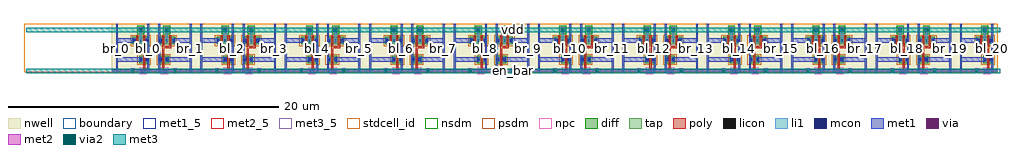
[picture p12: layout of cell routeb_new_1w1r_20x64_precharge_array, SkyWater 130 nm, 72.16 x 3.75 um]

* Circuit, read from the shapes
.subckt routeb_new_1w1r_20x64_precharge_array bl_0 bl_1 bl_10 bl_11 bl_12 bl_13 bl_14 bl_15 bl_16 bl_17 bl_18 bl_19 bl_2 bl_20 bl_3 bl_4 bl_5 bl_6 bl_7 bl_8 bl_9 br_0 br_1 br_10 br_11 br_12 br_13 br_14 br_15 br_16 br_17 br_18 br_19 br_2 br_20 br_3 br_4 br_5 br_6 br_7 br_8 br_9 en_bar vdd
XM1 vdd en_bar br_0 vdd sky130_fd_pr__pfet_01v8 w=0.55 l=0.15
XM2 bl_0 en_bar br_0 vdd sky130_fd_pr__pfet_01v8 w=0.55 l=0.15
XM3 bl_0 en_bar vdd vdd sky130_fd_pr__pfet_01v8 w=0.55 l=0.15
XM4 br_1 en_bar bl_1 vdd sky130_fd_pr__pfet_01v8 w=0.55 l=0.15
XM5 vdd en_bar bl_1 vdd sky130_fd_pr__pfet_01v8 w=0.55 l=0.15
XM6 br_1 en_bar vdd vdd sky130_fd_pr__pfet_01v8 w=0.55 l=0.15
XM7 vdd en_bar br_2 vdd sky130_fd_pr__pfet_01v8 w=0.55 l=0.15
XM8 bl_2 en_bar br_2 vdd sky130_fd_pr__pfet_01v8 w=0.55 l=0.15
XM9 bl_2 en_bar vdd vdd sky130_fd_pr__pfet_01v8 w=0.55 l=0.15
XM10 br_3 en_bar bl_3 vdd sky130_fd_pr__pfet_01v8 w=0.55 l=0.15
XM11 vdd en_bar bl_3 vdd sky130_fd_pr__pfet_01v8 w=0.55 l=0.15
XM12 br_3 en_bar vdd vdd sky130_fd_pr__pfet_01v8 w=0.55 l=0.15
XM13 vdd en_bar br_4 vdd sky130_fd_pr__pfet_01v8 w=0.55 l=0.15
XM14 bl_4 en_bar br_4 vdd sky130_fd_pr__pfet_01v8 w=0.55 l=0.15
XM15 bl_4 en_bar vdd vdd sky130_fd_pr__pfet_01v8 w=0.55 l=0.15
XM16 br_5 en_bar bl_5 vdd sky130_fd_pr__pfet_01v8 w=0.55 l=0.15
XM17 vdd en_bar bl_5 vdd sky130_fd_pr__pfet_01v8 w=0.55 l=0.15
XM18 br_5 en_bar vdd vdd sky130_fd_pr__pfet_01v8 w=0.55 l=0.15
XM19 vdd en_bar br_6 vdd sky130_fd_pr__pfet_01v8 w=0.55 l=0.15
XM20 bl_6 en_bar br_6 vdd sky130_fd_pr__pfet_01v8 w=0.55 l=0.15
XM21 bl_6 en_bar vdd vdd sky130_fd_pr__pfet_01v8 w=0.55 l=0.15
XM22 br_7 en_bar bl_7 vdd sky130_fd_pr__pfet_01v8 w=0.55 l=0.15
XM23 vdd en_bar bl_7 vdd sky130_fd_pr__pfet_01v8 w=0.55 l=0.15
XM24 br_7 en_bar vdd vdd sky130_fd_pr__pfet_01v8 w=0.55 l=0.15
XM25 vdd en_bar br_8 vdd sky130_fd_pr__pfet_01v8 w=0.55 l=0.15
XM26 bl_8 en_bar br_8 vdd sky130_fd_pr__pfet_01v8 w=0.55 l=0.15
XM27 bl_8 en_bar vdd vdd sky130_fd_pr__pfet_01v8 w=0.55 l=0.15
XM28 br_9 en_bar bl_9 vdd sky130_fd_pr__pfet_01v8 w=0.55 l=0.15
XM29 vdd en_bar bl_9 vdd sky130_fd_pr__pfet_01v8 w=0.55 l=0.15
XM30 br_9 en_bar vdd vdd sky130_fd_pr__pfet_01v8 w=0.55 l=0.15
XM31 vdd en_bar br_10 vdd sky130_fd_pr__pfet_01v8 w=0.55 l=0.15
XM32 bl_10 en_bar br_10 vdd sky130_fd_pr__pfet_01v8 w=0.55 l=0.15
XM33 bl_10 en_bar vdd vdd sky130_fd_pr__pfet_01v8 w=0.55 l=0.15
XM34 br_11 en_bar bl_11 vdd sky130_fd_pr__pfet_01v8 w=0.55 l=0.15
XM35 vdd en_bar bl_11 vdd sky130_fd_pr__pfet_01v8 w=0.55 l=0.15
XM36 br_11 en_bar vdd vdd sky130_fd_pr__pfet_01v8 w=0.55 l=0.15
XM37 vdd en_bar br_12 vdd sky130_fd_pr__pfet_01v8 w=0.55 l=0.15
XM38 bl_12 en_bar br_12 vdd sky130_fd_pr__pfet_01v8 w=0.55 l=0.15
XM39 bl_12 en_bar vdd vdd sky130_fd_pr__pfet_01v8 w=0.55 l=0.15
XM40 br_13 en_bar bl_13 vdd sky130_fd_pr__pfet_01v8 w=0.55 l=0.15
XM41 vdd en_bar bl_13 vdd sky130_fd_pr__pfet_01v8 w=0.55 l=0.15
XM42 br_13 en_bar vdd vdd sky130_fd_pr__pfet_01v8 w=0.55 l=0.15
XM43 vdd en_bar br_14 vdd sky130_fd_pr__pfet_01v8 w=0.55 l=0.15
XM44 bl_14 en_bar br_14 vdd sky130_fd_pr__pfet_01v8 w=0.55 l=0.15
XM45 bl_14 en_bar vdd vdd sky130_fd_pr__pfet_01v8 w=0.55 l=0.15
XM46 br_15 en_bar bl_15 vdd sky130_fd_pr__pfet_01v8 w=0.55 l=0.15
XM47 vdd en_bar bl_15 vdd sky130_fd_pr__pfet_01v8 w=0.55 l=0.15
XM48 br_15 en_bar vdd vdd sky130_fd_pr__pfet_01v8 w=0.55 l=0.15
XM49 vdd en_bar br_16 vdd sky130_fd_pr__pfet_01v8 w=0.55 l=0.15
XM50 bl_16 en_bar br_16 vdd sky130_fd_pr__pfet_01v8 w=0.55 l=0.15
XM51 bl_16 en_bar vdd vdd sky130_fd_pr__pfet_01v8 w=0.55 l=0.15
XM52 br_17 en_bar bl_17 vdd sky130_fd_pr__pfet_01v8 w=0.55 l=0.15
XM53 vdd en_bar bl_17 vdd sky130_fd_pr__pfet_01v8 w=0.55 l=0.15
XM54 br_17 en_bar vdd vdd sky130_fd_pr__pfet_01v8 w=0.55 l=0.15
XM55 vdd en_bar br_18 vdd sky130_fd_pr__pfet_01v8 w=0.55 l=0.15
XM56 bl_18 en_bar br_18 vdd sky130_fd_pr__pfet_01v8 w=0.55 l=0.15
XM57 bl_18 en_bar vdd vdd sky130_fd_pr__pfet_01v8 w=0.55 l=0.15
XM58 br_19 en_bar bl_19 vdd sky130_fd_pr__pfet_01v8 w=0.55 l=0.15
XM59 vdd en_bar bl_19 vdd sky130_fd_pr__pfet_01v8 w=0.55 l=0.15
XM60 br_19 en_bar vdd vdd sky130_fd_pr__pfet_01v8 w=0.55 l=0.15
XM61 vdd en_bar br_20 vdd sky130_fd_pr__pfet_01v8 w=0.55 l=0.15
XM62 bl_20 en_bar br_20 vdd sky130_fd_pr__pfet_01v8 w=0.55 l=0.15
XM63 bl_20 en_bar vdd vdd sky130_fd_pr__pfet_01v8 w=0.55 l=0.15
.ends

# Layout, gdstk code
from math import pi, radians
import gdstk
lib = gdstk.Library(unit=1e-6, precision=1e-09)
def R(c, l, rs):  # rectangles x0, y0, x1, y1
    for r in rs: c.add(gdstk.rectangle(r[:2], r[2:], *l))
def A(c, l, x, y, w, h, nx, ny, dx, dy):  # array of equal rectangles
    R(c, l, [(x+i*dx, y+j*dy, x+i*dx+w, y+j*dy+h) for i in range(nx) for j in range(ny)])
nwell = (64, 20)
diff = (65, 20)
tap = (65, 44)
poly = (66, 20)
licon = (66, 44)
li1 = (67, 20)
mcon = (67, 44)
met1_5 = (68, 5)
met1 = (68, 20)
via = (68, 44)
met2_5 = (69, 5)
met2 = (69, 20)
via2 = (69, 44)
met3_5 = (70, 5)
met3 = (70, 20)
stdcell_id = (81, 4)
nsdm = (93, 44)
psdm = (94, 20)
npc = (95, 20)
boundary = (235, 4)

routeb_new_1w1r_20x64_co = lib.new_cell('routeb_new_1w1r_20x64_contact_11')
R(routeb_new_1w1r_20x64_co, nwell, [(-0.295,-0.255,0.545,0.585)])
R(routeb_new_1w1r_20x64_co, diff, [(0,0.02,0.25,0.31)])
R(routeb_new_1w1r_20x64_co, licon, [(0.04,0.08,0.21,0.25)])
R(routeb_new_1w1r_20x64_co, li1, [(0.04,0,0.21,0.33)])
R(routeb_new_1w1r_20x64_co, stdcell_id, [(-0.295,-0.255,0.545,0.585)])
R(routeb_new_1w1r_20x64_co, psdm, [(-0.125,-0.105,0.375,0.435)])
R(routeb_new_1w1r_20x64_co, boundary, [(-0.295,-0.255,0.545,0.585)])

routeb_new_1w1r_20x64_pm = lib.new_cell('routeb_new_1w1r_20x64_pmos_m1_w0_550_sli_dli')
R(routeb_new_1w1r_20x64_pm, nwell, [(-0.27,-0.27,1.02,0.82)])
R(routeb_new_1w1r_20x64_pm, diff, [(0,0,0.75,0.55)])
R(routeb_new_1w1r_20x64_pm, poly, [(0.3,-0.13,0.45,0.68), (0.3,-0.13,0.45,0.68)])
R(routeb_new_1w1r_20x64_pm, li1, [(0.04,0.11,0.21,0.44), (0.54,0.11,0.71,0.44)])
R(routeb_new_1w1r_20x64_pm, stdcell_id, [(-0.27,-0.27,1.02,0.82)])
R(routeb_new_1w1r_20x64_pm, psdm, [(-0.125,-0.125,0.875,0.675)])
R(routeb_new_1w1r_20x64_pm, boundary, [(-0.27,-0.27,1.02,0.82)])
routeb_new_1w1r_20x64_pm.add(gdstk.Reference(routeb_new_1w1r_20x64_co, (0,0.11)))
routeb_new_1w1r_20x64_pm.add(gdstk.Reference(routeb_new_1w1r_20x64_co, (0.5,0.11)))
routeb_new_1w1r_20x64_pm.add(gdstk.Label('G', (0.375,0.275), layer=66, texttype=5))
routeb_new_1w1r_20x64_pm.add(gdstk.Label('S', (0.125,0.275), layer=67, texttype=5))
routeb_new_1w1r_20x64_pm.add(gdstk.Label('D', (0.625,0.275), layer=67, texttype=5))

c_routeb_new_1w1r_20x64_co = lib.new_cell('routeb_new_1w1r_20x64_contact_15')
R(c_routeb_new_1w1r_20x64_co, poly, [(0,0,0.33,0.33)])
R(c_routeb_new_1w1r_20x64_co, licon, [(0.08,0.08,0.25,0.25)])
R(c_routeb_new_1w1r_20x64_co, li1, [(0.08,0,0.25,0.33)])
R(c_routeb_new_1w1r_20x64_co, stdcell_id, [(-0.1,-0.1,0.43,0.43)])
R(c_routeb_new_1w1r_20x64_co, npc, [(-0.1,-0.1,0.43,0.43)])
R(c_routeb_new_1w1r_20x64_co, boundary, [(-0.1,-0.1,0.43,0.43)])

c_routeb_new_1w1r_20x64_co_ = lib.new_cell('routeb_new_1w1r_20x64_contact_13')
R(c_routeb_new_1w1r_20x64_co_, li1, [(0.06,0,0.23,0.33)])
R(c_routeb_new_1w1r_20x64_co_, mcon, [(0.06,0.08,0.23,0.25)])
R(c_routeb_new_1w1r_20x64_co_, met1, [(0,0.05,0.29,0.28)])
R(c_routeb_new_1w1r_20x64_co_, stdcell_id, [(0,0,0.29,0.33)])
R(c_routeb_new_1w1r_20x64_co_, boundary, [(0,0,0.29,0.33)])

c_routeb_new_1w1r_20x64_co__ = lib.new_cell('routeb_new_1w1r_20x64_contact_18')
R(c_routeb_new_1w1r_20x64_co__, met1, [(0,0.03,0.32,0.29)])
R(c_routeb_new_1w1r_20x64_co__, via, [(0.085,0.085,0.235,0.235)])
R(c_routeb_new_1w1r_20x64_co__, met2, [(0.03,0,0.29,0.32)])
R(c_routeb_new_1w1r_20x64_co__, stdcell_id, [(0,0,0.32,0.32)])
R(c_routeb_new_1w1r_20x64_co__, boundary, [(0,0,0.32,0.32)])

c_routeb_new_1w1r_20x64_co___ = lib.new_cell('routeb_new_1w1r_20x64_contact_12')
R(c_routeb_new_1w1r_20x64_co___, nwell, [(-0.295,-0.215,0.545,0.625)])
R(c_routeb_new_1w1r_20x64_co___, tap, [(0,0,0.25,0.41)])
R(c_routeb_new_1w1r_20x64_co___, licon, [(0.04,0.12,0.21,0.29)])
R(c_routeb_new_1w1r_20x64_co___, li1, [(0.04,0.04,0.21,0.37)])
R(c_routeb_new_1w1r_20x64_co___, stdcell_id, [(-0.295,-0.215,0.545,0.625)])
R(c_routeb_new_1w1r_20x64_co___, nsdm, [(-0.125,-0.125,0.375,0.535)])
R(c_routeb_new_1w1r_20x64_co___, boundary, [(-0.295,-0.215,0.545,0.625)])

c_routeb_new_1w1r_20x64_co____ = lib.new_cell('routeb_new_1w1r_20x64_contact_23')
R(c_routeb_new_1w1r_20x64_co____, li1, [(0.03,0,0.2,0.33)])
R(c_routeb_new_1w1r_20x64_co____, mcon, [(0.03,0.08,0.2,0.25)])
R(c_routeb_new_1w1r_20x64_co____, met1, [(0,0.02,0.23,0.31)])
R(c_routeb_new_1w1r_20x64_co____, stdcell_id, [(0,0,0.23,0.33)])
R(c_routeb_new_1w1r_20x64_co____, boundary, [(0,0,0.23,0.33)])

routeb_new_1w1r_20x64_pr = lib.new_cell('routeb_new_1w1r_20x64_precharge_0')
R(routeb_new_1w1r_20x64_pr, nwell, [(0,0,3.12,3.61)])
R(routeb_new_1w1r_20x64_pr, poly, [(0.64,0.05,0.79,0.2), (0.715,0.05,0.79,0.2), (0.64,0.125,0.79,0.56), (0.64,1.37,0.79,1.95), (0.64,1.8,1.29,1.95)])
R(routeb_new_1w1r_20x64_pr, li1, [(0.88,2.355,1.05,3.14), (0.88,3.055,1.05,3.225)])
R(routeb_new_1w1r_20x64_pr, met1_5, [(0.33,0,0.47,3.61), (2.65,0,2.79,3.61)])
R(routeb_new_1w1r_20x64_pr, met1, [(0.63,-0.005,0.95,0.255), (0.33,0,0.47,3.61), (0.33,0,0.47,3.61), (2.65,0,2.79,3.61), (2.65,0,2.79,3.61), (0.4,0.8,0.465,1.13), (0.965,0.8,2.72,1.13), (0.4,2.19,0.465,2.52), (1.465,2.19,2.72,2.52)])
R(routeb_new_1w1r_20x64_pr, met2_5, [(0,0.055,3.12,0.195)])
R(routeb_new_1w1r_20x64_pr, met2, [(0,0.055,3.12,0.195)])
R(routeb_new_1w1r_20x64_pr, stdcell_id, [(0,0,3.12,3.61)])
R(routeb_new_1w1r_20x64_pr, boundary, [(0,0,3.12,3.61)])
routeb_new_1w1r_20x64_pr.add(gdstk.Reference(routeb_new_1w1r_20x64_pm, (0.34,0.69)))
routeb_new_1w1r_20x64_pr.add(gdstk.Reference(routeb_new_1w1r_20x64_pm, (0.34,2.08)))
routeb_new_1w1r_20x64_pr.add(gdstk.Reference(routeb_new_1w1r_20x64_pm, (0.84,2.08)))
routeb_new_1w1r_20x64_pr.add(gdstk.Reference(c_routeb_new_1w1r_20x64_co, (0.625,-0.04)))
routeb_new_1w1r_20x64_pr.add(gdstk.Reference(c_routeb_new_1w1r_20x64_co_, (0.645,-0.04)))
routeb_new_1w1r_20x64_pr.add(gdstk.Reference(c_routeb_new_1w1r_20x64_co__, (0.63,-0.035)))
routeb_new_1w1r_20x64_pr.add(gdstk.Reference(c_routeb_new_1w1r_20x64_co___, (0.84,2.935)))
routeb_new_1w1r_20x64_pr.add(gdstk.Reference(c_routeb_new_1w1r_20x64_co_, (0.82,2.975)))
routeb_new_1w1r_20x64_pr.add(gdstk.Reference(c_routeb_new_1w1r_20x64_co____, (0.35,0.8)))
routeb_new_1w1r_20x64_pr.add(gdstk.Reference(c_routeb_new_1w1r_20x64_co____, (0.85,0.8)))
routeb_new_1w1r_20x64_pr.add(gdstk.Reference(c_routeb_new_1w1r_20x64_co____, (0.35,2.19)))
routeb_new_1w1r_20x64_pr.add(gdstk.Reference(c_routeb_new_1w1r_20x64_co____, (1.35,2.19)))
routeb_new_1w1r_20x64_pr.add(gdstk.Label('en_bar', (1.56,0.125), layer=69, texttype=5))
routeb_new_1w1r_20x64_pr.add(gdstk.Label('vdd', (0.965,3.14), layer=67, texttype=5))
routeb_new_1w1r_20x64_pr.add(gdstk.Label('bl', (0.4,1.805), layer=68, texttype=5))
routeb_new_1w1r_20x64_pr.add(gdstk.Label('br', (2.72,1.805), layer=68, texttype=5))

c_routeb_new_1w1r_20x64_co_____ = lib.new_cell('routeb_new_1w1r_20x64_contact_21')
R(c_routeb_new_1w1r_20x64_co_____, met2, [(0.025,0,0.305,0.37)])
R(c_routeb_new_1w1r_20x64_co_____, via2, [(0.065,0.085,0.265,0.285)])
R(c_routeb_new_1w1r_20x64_co_____, met3, [(0,0.02,0.33,0.35)])
R(c_routeb_new_1w1r_20x64_co_____, stdcell_id, [(0,0,0.33,0.37)])
R(c_routeb_new_1w1r_20x64_co_____, boundary, [(0,0,0.33,0.37)])

c_routeb_new_1w1r_20x64_pr = lib.new_cell('routeb_new_1w1r_20x64_precharge_array')
R(c_routeb_new_1w1r_20x64_pr, met1_5, [(6.805,0,6.945,3.61), (9.125,0,9.265,3.61), (9.925,0,10.065,3.61), (12.245,0,12.385,3.61), (13.045,0,13.185,3.61), (15.365,0,15.505,3.61), (16.165,0,16.305,3.61), (18.485,0,18.625,3.61), (19.285,0,19.425,3.61), (21.605,0,21.745,3.61), (22.405,0,22.545,3.61), (24.725,0,24.865,3.61), (25.525,0,25.665,3.61), (27.845,0,27.985,3.61), (28.645,0,28.785,3.61), (30.965,0,31.105,3.61), (31.765,0,31.905,3.61), (34.085,0,34.225,3.61), (34.885,0,35.025,3.61), (37.205,0,37.345,3.61), (38.005,0,38.145,3.61), (40.325,0,40.465,3.61), (41.125,0,41.265,3.61), (43.445,0,43.585,3.61), (44.245,0,44.385,3.61), (46.565,0,46.705,3.61), (47.365,0,47.505,3.61), (49.685,0,49.825,3.61), (50.485,0,50.625,3.61), (52.805,0,52.945,3.61), (53.605,0,53.745,3.61), (55.925,0,56.065,3.61), (56.725,0,56.865,3.61), (59.045,0,59.185,3.61), (59.845,0,59.985,3.61), (62.165,0,62.305,3.61), (62.965,0,63.105,3.61), (65.285,0,65.425,3.61), (66.085,0,66.225,3.61), (68.405,0,68.545,3.61), (69.205,0,69.345,3.61), (71.525,0,71.665,3.61)])
R(c_routeb_new_1w1r_20x64_pr, met1, [(6.805,0,6.945,3.61), (9.125,0,9.265,3.61), (9.925,0,10.065,3.61), (12.245,0,12.385,3.61), (13.045,0,13.185,3.61), (15.365,0,15.505,3.61), (16.165,0,16.305,3.61), (18.485,0,18.625,3.61), (19.285,0,19.425,3.61), (21.605,0,21.745,3.61), (22.405,0,22.545,3.61), (24.725,0,24.865,3.61), (25.525,0,25.665,3.61), (27.845,0,27.985,3.61), (28.645,0,28.785,3.61), (30.965,0,31.105,3.61), (31.765,0,31.905,3.61), (34.085,0,34.225,3.61), (34.885,0,35.025,3.61), (37.205,0,37.345,3.61), (38.005,0,38.145,3.61), (40.325,0,40.465,3.61), (41.125,0,41.265,3.61), (43.445,0,43.585,3.61), (44.245,0,44.385,3.61), (46.565,0,46.705,3.61), (47.365,0,47.505,3.61), (49.685,0,49.825,3.61), (50.485,0,50.625,3.61), (52.805,0,52.945,3.61), (53.605,0,53.745,3.61), (55.925,0,56.065,3.61), (56.725,0,56.865,3.61), (59.045,0,59.185,3.61), (59.845,0,59.985,3.61), (62.165,0,62.305,3.61), (62.965,0,63.105,3.61), (65.285,0,65.425,3.61), (66.085,0,66.225,3.61), (68.405,0,68.545,3.61), (69.205,0,69.345,3.61), (71.525,0,71.665,3.61), (8.47,3.01,8.79,3.27), (10.4,3.01,10.72,3.27), (14.71,3.01,15.03,3.27), (16.64,3.01,16.96,3.27), (20.95,3.01,21.27,3.27), (22.88,3.01,23.2,3.27), (27.19,3.01,27.51,3.27), (29.12,3.01,29.44,3.27), (33.43,3.01,33.75,3.27), (35.36,3.01,35.68,3.27), (39.67,3.01,39.99,3.27), (41.6,3.01,41.92,3.27), (45.91,3.01,46.23,3.27), (47.84,3.01,48.16,3.27), (52.15,3.01,52.47,3.27), (54.08,3.01,54.4,3.27), (58.39,3.01,58.71,3.27), (60.32,3.01,60.64,3.27), (64.63,3.01,64.95,3.27), (66.56,3.01,66.88,3.27), (70.87,3.01,71.19,3.27)])
A(c_routeb_new_1w1r_20x64_pr, met2, 7.895, 0, 0.28, 0.245, 21, 1, 3.12, 0)
R(c_routeb_new_1w1r_20x64_pr, met2, [(8.49,3.02,8.77,3.265), (10.42,3.02,10.7,3.265), (14.73,3.02,15.01,3.265), (16.66,3.02,16.94,3.265), (20.97,3.02,21.25,3.265), (22.9,3.02,23.18,3.265), (27.21,3.02,27.49,3.265), (29.14,3.02,29.42,3.265), (33.45,3.02,33.73,3.265), (35.38,3.02,35.66,3.265), (39.69,3.02,39.97,3.265), (41.62,3.02,41.9,3.265), (45.93,3.02,46.21,3.265), (47.86,3.02,48.14,3.265), (52.17,3.02,52.45,3.265), (54.1,3.02,54.38,3.265), (58.41,3.02,58.69,3.265), (60.34,3.02,60.62,3.265), (64.65,3.02,64.93,3.265), (66.58,3.02,66.86,3.265), (70.89,3.02,71.17,3.265)])
R(c_routeb_new_1w1r_20x64_pr, met3_5, [(0.165,-0.04,72.16,0.29), (0.165,2.975,72.16,3.305)])
R(c_routeb_new_1w1r_20x64_pr, met3, [(0.165,-0.04,72.16,0.29), (0.165,2.975,72.16,3.305)])
R(c_routeb_new_1w1r_20x64_pr, stdcell_id, [(0,0,71.995,3.61)])
R(c_routeb_new_1w1r_20x64_pr, boundary, [(0,0,71.995,3.61)])
c_routeb_new_1w1r_20x64_pr.add(gdstk.Reference(routeb_new_1w1r_20x64_pr, (9.595,0), rotation=pi, x_reflection=True))
c_routeb_new_1w1r_20x64_pr.add(gdstk.Reference(routeb_new_1w1r_20x64_pr, (9.595,0)))
c_routeb_new_1w1r_20x64_pr.add(gdstk.Reference(routeb_new_1w1r_20x64_pr, (15.835,0), rotation=pi, x_reflection=True))
c_routeb_new_1w1r_20x64_pr.add(gdstk.Reference(routeb_new_1w1r_20x64_pr, (15.835,0)))
c_routeb_new_1w1r_20x64_pr.add(gdstk.Reference(routeb_new_1w1r_20x64_pr, (22.075,0), rotation=pi, x_reflection=True))
c_routeb_new_1w1r_20x64_pr.add(gdstk.Reference(routeb_new_1w1r_20x64_pr, (22.075,0)))
c_routeb_new_1w1r_20x64_pr.add(gdstk.Reference(routeb_new_1w1r_20x64_pr, (28.315,0), rotation=pi, x_reflection=True))
c_routeb_new_1w1r_20x64_pr.add(gdstk.Reference(routeb_new_1w1r_20x64_pr, (28.315,0)))
c_routeb_new_1w1r_20x64_pr.add(gdstk.Reference(routeb_new_1w1r_20x64_pr, (34.555,0), rotation=pi, x_reflection=True))
c_routeb_new_1w1r_20x64_pr.add(gdstk.Reference(routeb_new_1w1r_20x64_pr, (34.555,0)))
c_routeb_new_1w1r_20x64_pr.add(gdstk.Reference(routeb_new_1w1r_20x64_pr, (40.795,0), rotation=pi, x_reflection=True))
c_routeb_new_1w1r_20x64_pr.add(gdstk.Reference(routeb_new_1w1r_20x64_pr, (40.795,0)))
c_routeb_new_1w1r_20x64_pr.add(gdstk.Reference(routeb_new_1w1r_20x64_pr, (47.035,0), rotation=pi, x_reflection=True))
c_routeb_new_1w1r_20x64_pr.add(gdstk.Reference(routeb_new_1w1r_20x64_pr, (47.035,0)))
c_routeb_new_1w1r_20x64_pr.add(gdstk.Reference(routeb_new_1w1r_20x64_pr, (53.275,0), rotation=pi, x_reflection=True))
c_routeb_new_1w1r_20x64_pr.add(gdstk.Reference(routeb_new_1w1r_20x64_pr, (53.275,0)))
c_routeb_new_1w1r_20x64_pr.add(gdstk.Reference(routeb_new_1w1r_20x64_pr, (59.515,0), rotation=pi, x_reflection=True))
c_routeb_new_1w1r_20x64_pr.add(gdstk.Reference(routeb_new_1w1r_20x64_pr, (59.515,0)))
c_routeb_new_1w1r_20x64_pr.add(gdstk.Reference(routeb_new_1w1r_20x64_pr, (65.755,0), rotation=pi, x_reflection=True))
c_routeb_new_1w1r_20x64_pr.add(gdstk.Reference(routeb_new_1w1r_20x64_pr, (65.755,0)))
c_routeb_new_1w1r_20x64_pr.add(gdstk.Reference(routeb_new_1w1r_20x64_pr, (71.995,0), rotation=pi, x_reflection=True))
c_routeb_new_1w1r_20x64_pr.add(gdstk.Reference(c_routeb_new_1w1r_20x64_co_____, (7.87,-0.06)))
c_routeb_new_1w1r_20x64_pr.add(gdstk.Reference(c_routeb_new_1w1r_20x64_co_____, (10.99,-0.06)))
c_routeb_new_1w1r_20x64_pr.add(gdstk.Reference(c_routeb_new_1w1r_20x64_co_____, (14.11,-0.06)))
c_routeb_new_1w1r_20x64_pr.add(gdstk.Reference(c_routeb_new_1w1r_20x64_co_____, (17.23,-0.06)))
c_routeb_new_1w1r_20x64_pr.add(gdstk.Reference(c_routeb_new_1w1r_20x64_co_____, (20.35,-0.06)))
c_routeb_new_1w1r_20x64_pr.add(gdstk.Reference(c_routeb_new_1w1r_20x64_co_____, (23.47,-0.06)))
c_routeb_new_1w1r_20x64_pr.add(gdstk.Reference(c_routeb_new_1w1r_20x64_co_____, (26.59,-0.06)))
c_routeb_new_1w1r_20x64_pr.add(gdstk.Reference(c_routeb_new_1w1r_20x64_co_____, (29.71,-0.06)))
c_routeb_new_1w1r_20x64_pr.add(gdstk.Reference(c_routeb_new_1w1r_20x64_co_____, (32.83,-0.06)))
c_routeb_new_1w1r_20x64_pr.add(gdstk.Reference(c_routeb_new_1w1r_20x64_co_____, (35.95,-0.06)))
c_routeb_new_1w1r_20x64_pr.add(gdstk.Reference(c_routeb_new_1w1r_20x64_co_____, (39.07,-0.06)))
c_routeb_new_1w1r_20x64_pr.add(gdstk.Reference(c_routeb_new_1w1r_20x64_co_____, (42.19,-0.06)))
c_routeb_new_1w1r_20x64_pr.add(gdstk.Reference(c_routeb_new_1w1r_20x64_co_____, (45.31,-0.06)))
c_routeb_new_1w1r_20x64_pr.add(gdstk.Reference(c_routeb_new_1w1r_20x64_co_____, (48.43,-0.06)))
c_routeb_new_1w1r_20x64_pr.add(gdstk.Reference(c_routeb_new_1w1r_20x64_co_____, (51.55,-0.06)))
c_routeb_new_1w1r_20x64_pr.add(gdstk.Reference(c_routeb_new_1w1r_20x64_co_____, (54.67,-0.06)))
c_routeb_new_1w1r_20x64_pr.add(gdstk.Reference(c_routeb_new_1w1r_20x64_co_____, (57.79,-0.06)))
c_routeb_new_1w1r_20x64_pr.add(gdstk.Reference(c_routeb_new_1w1r_20x64_co_____, (60.91,-0.06)))
c_routeb_new_1w1r_20x64_pr.add(gdstk.Reference(c_routeb_new_1w1r_20x64_co_____, (64.03,-0.06)))
c_routeb_new_1w1r_20x64_pr.add(gdstk.Reference(c_routeb_new_1w1r_20x64_co_____, (67.15,-0.06)))
c_routeb_new_1w1r_20x64_pr.add(gdstk.Reference(c_routeb_new_1w1r_20x64_co_____, (70.27,-0.06)))
c_routeb_new_1w1r_20x64_pr.add(gdstk.Reference(c_routeb_new_1w1r_20x64_co_____, (7.87,-0.06)))
c_routeb_new_1w1r_20x64_pr.add(gdstk.Reference(c_routeb_new_1w1r_20x64_co_____, (10.99,-0.06)))
c_routeb_new_1w1r_20x64_pr.add(gdstk.Reference(c_routeb_new_1w1r_20x64_co_____, (14.11,-0.06)))
c_routeb_new_1w1r_20x64_pr.add(gdstk.Reference(c_routeb_new_1w1r_20x64_co_____, (17.23,-0.06)))
c_routeb_new_1w1r_20x64_pr.add(gdstk.Reference(c_routeb_new_1w1r_20x64_co_____, (20.35,-0.06)))
c_routeb_new_1w1r_20x64_pr.add(gdstk.Reference(c_routeb_new_1w1r_20x64_co_____, (23.47,-0.06)))
c_routeb_new_1w1r_20x64_pr.add(gdstk.Reference(c_routeb_new_1w1r_20x64_co_____, (26.59,-0.06)))
c_routeb_new_1w1r_20x64_pr.add(gdstk.Reference(c_routeb_new_1w1r_20x64_co_____, (29.71,-0.06)))
c_routeb_new_1w1r_20x64_pr.add(gdstk.Reference(c_routeb_new_1w1r_20x64_co_____, (32.83,-0.06)))
c_routeb_new_1w1r_20x64_pr.add(gdstk.Reference(c_routeb_new_1w1r_20x64_co_____, (35.95,-0.06)))
c_routeb_new_1w1r_20x64_pr.add(gdstk.Reference(c_routeb_new_1w1r_20x64_co_____, (39.07,-0.06)))
c_routeb_new_1w1r_20x64_pr.add(gdstk.Reference(c_routeb_new_1w1r_20x64_co_____, (42.19,-0.06)))
c_routeb_new_1w1r_20x64_pr.add(gdstk.Reference(c_routeb_new_1w1r_20x64_co_____, (45.31,-0.06)))
c_routeb_new_1w1r_20x64_pr.add(gdstk.Reference(c_routeb_new_1w1r_20x64_co_____, (48.43,-0.06)))
c_routeb_new_1w1r_20x64_pr.add(gdstk.Reference(c_routeb_new_1w1r_20x64_co_____, (51.55,-0.06)))
c_routeb_new_1w1r_20x64_pr.add(gdstk.Reference(c_routeb_new_1w1r_20x64_co_____, (54.67,-0.06)))
c_routeb_new_1w1r_20x64_pr.add(gdstk.Reference(c_routeb_new_1w1r_20x64_co_____, (57.79,-0.06)))
c_routeb_new_1w1r_20x64_pr.add(gdstk.Reference(c_routeb_new_1w1r_20x64_co_____, (60.91,-0.06)))
c_routeb_new_1w1r_20x64_pr.add(gdstk.Reference(c_routeb_new_1w1r_20x64_co_____, (64.03,-0.06)))
c_routeb_new_1w1r_20x64_pr.add(gdstk.Reference(c_routeb_new_1w1r_20x64_co_____, (67.15,-0.06)))
c_routeb_new_1w1r_20x64_pr.add(gdstk.Reference(c_routeb_new_1w1r_20x64_co_____, (70.27,-0.06)))
c_routeb_new_1w1r_20x64_pr.add(gdstk.Reference(c_routeb_new_1w1r_20x64_co_, (8.485,2.975)))
c_routeb_new_1w1r_20x64_pr.add(gdstk.Reference(c_routeb_new_1w1r_20x64_co__, (8.47,2.98)))
c_routeb_new_1w1r_20x64_pr.add(gdstk.Reference(c_routeb_new_1w1r_20x64_co_____, (8.465,2.955)))
c_routeb_new_1w1r_20x64_pr.add(gdstk.Reference(c_routeb_new_1w1r_20x64_co_, (10.415,2.975)))
c_routeb_new_1w1r_20x64_pr.add(gdstk.Reference(c_routeb_new_1w1r_20x64_co__, (10.4,2.98)))
c_routeb_new_1w1r_20x64_pr.add(gdstk.Reference(c_routeb_new_1w1r_20x64_co_____, (10.395,2.955)))
c_routeb_new_1w1r_20x64_pr.add(gdstk.Reference(c_routeb_new_1w1r_20x64_co_, (14.725,2.975)))
c_routeb_new_1w1r_20x64_pr.add(gdstk.Reference(c_routeb_new_1w1r_20x64_co__, (14.71,2.98)))
c_routeb_new_1w1r_20x64_pr.add(gdstk.Reference(c_routeb_new_1w1r_20x64_co_____, (14.705,2.955)))
c_routeb_new_1w1r_20x64_pr.add(gdstk.Reference(c_routeb_new_1w1r_20x64_co_, (16.655,2.975)))
c_routeb_new_1w1r_20x64_pr.add(gdstk.Reference(c_routeb_new_1w1r_20x64_co__, (16.64,2.98)))
c_routeb_new_1w1r_20x64_pr.add(gdstk.Reference(c_routeb_new_1w1r_20x64_co_____, (16.635,2.955)))
c_routeb_new_1w1r_20x64_pr.add(gdstk.Reference(c_routeb_new_1w1r_20x64_co_, (20.965,2.975)))
c_routeb_new_1w1r_20x64_pr.add(gdstk.Reference(c_routeb_new_1w1r_20x64_co__, (20.95,2.98)))
c_routeb_new_1w1r_20x64_pr.add(gdstk.Reference(c_routeb_new_1w1r_20x64_co_____, (20.945,2.955)))
c_routeb_new_1w1r_20x64_pr.add(gdstk.Reference(c_routeb_new_1w1r_20x64_co_, (22.895,2.975)))
c_routeb_new_1w1r_20x64_pr.add(gdstk.Reference(c_routeb_new_1w1r_20x64_co__, (22.88,2.98)))
c_routeb_new_1w1r_20x64_pr.add(gdstk.Reference(c_routeb_new_1w1r_20x64_co_____, (22.875,2.955)))
c_routeb_new_1w1r_20x64_pr.add(gdstk.Reference(c_routeb_new_1w1r_20x64_co_, (27.205,2.975)))
c_routeb_new_1w1r_20x64_pr.add(gdstk.Reference(c_routeb_new_1w1r_20x64_co__, (27.19,2.98)))
c_routeb_new_1w1r_20x64_pr.add(gdstk.Reference(c_routeb_new_1w1r_20x64_co_____, (27.185,2.955)))
c_routeb_new_1w1r_20x64_pr.add(gdstk.Reference(c_routeb_new_1w1r_20x64_co_, (29.135,2.975)))
c_routeb_new_1w1r_20x64_pr.add(gdstk.Reference(c_routeb_new_1w1r_20x64_co__, (29.12,2.98)))
c_routeb_new_1w1r_20x64_pr.add(gdstk.Reference(c_routeb_new_1w1r_20x64_co_____, (29.115,2.955)))
c_routeb_new_1w1r_20x64_pr.add(gdstk.Reference(c_routeb_new_1w1r_20x64_co_, (33.445,2.975)))
c_routeb_new_1w1r_20x64_pr.add(gdstk.Reference(c_routeb_new_1w1r_20x64_co__, (33.43,2.98)))
c_routeb_new_1w1r_20x64_pr.add(gdstk.Reference(c_routeb_new_1w1r_20x64_co_____, (33.425,2.955)))
c_routeb_new_1w1r_20x64_pr.add(gdstk.Reference(c_routeb_new_1w1r_20x64_co_, (35.375,2.975)))
c_routeb_new_1w1r_20x64_pr.add(gdstk.Reference(c_routeb_new_1w1r_20x64_co__, (35.36,2.98)))
c_routeb_new_1w1r_20x64_pr.add(gdstk.Reference(c_routeb_new_1w1r_20x64_co_____, (35.355,2.955)))
c_routeb_new_1w1r_20x64_pr.add(gdstk.Reference(c_routeb_new_1w1r_20x64_co_, (39.685,2.975)))
c_routeb_new_1w1r_20x64_pr.add(gdstk.Reference(c_routeb_new_1w1r_20x64_co__, (39.67,2.98)))
c_routeb_new_1w1r_20x64_pr.add(gdstk.Reference(c_routeb_new_1w1r_20x64_co_____, (39.665,2.955)))
c_routeb_new_1w1r_20x64_pr.add(gdstk.Reference(c_routeb_new_1w1r_20x64_co_, (41.615,2.975)))
c_routeb_new_1w1r_20x64_pr.add(gdstk.Reference(c_routeb_new_1w1r_20x64_co__, (41.6,2.98)))
c_routeb_new_1w1r_20x64_pr.add(gdstk.Reference(c_routeb_new_1w1r_20x64_co_____, (41.595,2.955)))
c_routeb_new_1w1r_20x64_pr.add(gdstk.Reference(c_routeb_new_1w1r_20x64_co_, (45.925,2.975)))
c_routeb_new_1w1r_20x64_pr.add(gdstk.Reference(c_routeb_new_1w1r_20x64_co__, (45.91,2.98)))
c_routeb_new_1w1r_20x64_pr.add(gdstk.Reference(c_routeb_new_1w1r_20x64_co_____, (45.905,2.955)))
c_routeb_new_1w1r_20x64_pr.add(gdstk.Reference(c_routeb_new_1w1r_20x64_co_, (47.855,2.975)))
c_routeb_new_1w1r_20x64_pr.add(gdstk.Reference(c_routeb_new_1w1r_20x64_co__, (47.84,2.98)))
c_routeb_new_1w1r_20x64_pr.add(gdstk.Reference(c_routeb_new_1w1r_20x64_co_____, (47.835,2.955)))
c_routeb_new_1w1r_20x64_pr.add(gdstk.Reference(c_routeb_new_1w1r_20x64_co_, (52.165,2.975)))
c_routeb_new_1w1r_20x64_pr.add(gdstk.Reference(c_routeb_new_1w1r_20x64_co__, (52.15,2.98)))
c_routeb_new_1w1r_20x64_pr.add(gdstk.Reference(c_routeb_new_1w1r_20x64_co_____, (52.145,2.955)))
c_routeb_new_1w1r_20x64_pr.add(gdstk.Reference(c_routeb_new_1w1r_20x64_co_, (54.095,2.975)))
c_routeb_new_1w1r_20x64_pr.add(gdstk.Reference(c_routeb_new_1w1r_20x64_co__, (54.08,2.98)))
c_routeb_new_1w1r_20x64_pr.add(gdstk.Reference(c_routeb_new_1w1r_20x64_co_____, (54.075,2.955)))
c_routeb_new_1w1r_20x64_pr.add(gdstk.Reference(c_routeb_new_1w1r_20x64_co_, (58.405,2.975)))
c_routeb_new_1w1r_20x64_pr.add(gdstk.Reference(c_routeb_new_1w1r_20x64_co__, (58.39,2.98)))
c_routeb_new_1w1r_20x64_pr.add(gdstk.Reference(c_routeb_new_1w1r_20x64_co_____, (58.385,2.955)))
c_routeb_new_1w1r_20x64_pr.add(gdstk.Reference(c_routeb_new_1w1r_20x64_co_, (60.335,2.975)))
c_routeb_new_1w1r_20x64_pr.add(gdstk.Reference(c_routeb_new_1w1r_20x64_co__, (60.32,2.98)))
c_routeb_new_1w1r_20x64_pr.add(gdstk.Reference(c_routeb_new_1w1r_20x64_co_____, (60.315,2.955)))
c_routeb_new_1w1r_20x64_pr.add(gdstk.Reference(c_routeb_new_1w1r_20x64_co_, (64.645,2.975)))
c_routeb_new_1w1r_20x64_pr.add(gdstk.Reference(c_routeb_new_1w1r_20x64_co__, (64.63,2.98)))
c_routeb_new_1w1r_20x64_pr.add(gdstk.Reference(c_routeb_new_1w1r_20x64_co_____, (64.625,2.955)))
c_routeb_new_1w1r_20x64_pr.add(gdstk.Reference(c_routeb_new_1w1r_20x64_co_, (66.575,2.975)))
c_routeb_new_1w1r_20x64_pr.add(gdstk.Reference(c_routeb_new_1w1r_20x64_co__, (66.56,2.98)))
c_routeb_new_1w1r_20x64_pr.add(gdstk.Reference(c_routeb_new_1w1r_20x64_co_____, (66.555,2.955)))
c_routeb_new_1w1r_20x64_pr.add(gdstk.Reference(c_routeb_new_1w1r_20x64_co_, (70.885,2.975)))
c_routeb_new_1w1r_20x64_pr.add(gdstk.Reference(c_routeb_new_1w1r_20x64_co__, (70.87,2.98)))
c_routeb_new_1w1r_20x64_pr.add(gdstk.Reference(c_routeb_new_1w1r_20x64_co_____, (70.865,2.955)))
c_routeb_new_1w1r_20x64_pr.add(gdstk.Label('en_bar', (36.162,0.125), layer=70, texttype=5))
c_routeb_new_1w1r_20x64_pr.add(gdstk.Label('bl_0', (9.195,1.805), layer=68, texttype=5))
c_routeb_new_1w1r_20x64_pr.add(gdstk.Label('br_0', (6.875,1.805), layer=68, texttype=5))
c_routeb_new_1w1r_20x64_pr.add(gdstk.Label('bl_1', (9.995,1.805), layer=68, texttype=5))
c_routeb_new_1w1r_20x64_pr.add(gdstk.Label('br_1', (12.315,1.805), layer=68, texttype=5))
c_routeb_new_1w1r_20x64_pr.add(gdstk.Label('bl_2', (15.435,1.805), layer=68, texttype=5))
c_routeb_new_1w1r_20x64_pr.add(gdstk.Label('br_2', (13.115,1.805), layer=68, texttype=5))
c_routeb_new_1w1r_20x64_pr.add(gdstk.Label('bl_3', (16.235,1.805), layer=68, texttype=5))
c_routeb_new_1w1r_20x64_pr.add(gdstk.Label('br_3', (18.555,1.805), layer=68, texttype=5))
c_routeb_new_1w1r_20x64_pr.add(gdstk.Label('bl_4', (21.675,1.805), layer=68, texttype=5))
c_routeb_new_1w1r_20x64_pr.add(gdstk.Label('br_4', (19.355,1.805), layer=68, texttype=5))
c_routeb_new_1w1r_20x64_pr.add(gdstk.Label('bl_5', (22.475,1.805), layer=68, texttype=5))
c_routeb_new_1w1r_20x64_pr.add(gdstk.Label('br_5', (24.795,1.805), layer=68, texttype=5))
c_routeb_new_1w1r_20x64_pr.add(gdstk.Label('bl_6', (27.915,1.805), layer=68, texttype=5))
c_routeb_new_1w1r_20x64_pr.add(gdstk.Label('br_6', (25.595,1.805), layer=68, texttype=5))
c_routeb_new_1w1r_20x64_pr.add(gdstk.Label('bl_7', (28.715,1.805), layer=68, texttype=5))
c_routeb_new_1w1r_20x64_pr.add(gdstk.Label('br_7', (31.035,1.805), layer=68, texttype=5))
c_routeb_new_1w1r_20x64_pr.add(gdstk.Label('bl_8', (34.155,1.805), layer=68, texttype=5))
c_routeb_new_1w1r_20x64_pr.add(gdstk.Label('br_8', (31.835,1.805), layer=68, texttype=5))
c_routeb_new_1w1r_20x64_pr.add(gdstk.Label('bl_9', (34.955,1.805), layer=68, texttype=5))
c_routeb_new_1w1r_20x64_pr.add(gdstk.Label('br_9', (37.275,1.805), layer=68, texttype=5))
c_routeb_new_1w1r_20x64_pr.add(gdstk.Label('bl_10', (40.395,1.805), layer=68, texttype=5))
c_routeb_new_1w1r_20x64_pr.add(gdstk.Label('br_10', (38.075,1.805), layer=68, texttype=5))
c_routeb_new_1w1r_20x64_pr.add(gdstk.Label('bl_11', (41.195,1.805), layer=68, texttype=5))
c_routeb_new_1w1r_20x64_pr.add(gdstk.Label('br_11', (43.515,1.805), layer=68, texttype=5))
c_routeb_new_1w1r_20x64_pr.add(gdstk.Label('bl_12', (46.635,1.805), layer=68, texttype=5))
c_routeb_new_1w1r_20x64_pr.add(gdstk.Label('br_12', (44.315,1.805), layer=68, texttype=5))
c_routeb_new_1w1r_20x64_pr.add(gdstk.Label('bl_13', (47.435,1.805), layer=68, texttype=5))
c_routeb_new_1w1r_20x64_pr.add(gdstk.Label('br_13', (49.755,1.805), layer=68, texttype=5))
c_routeb_new_1w1r_20x64_pr.add(gdstk.Label('bl_14', (52.875,1.805), layer=68, texttype=5))
c_routeb_new_1w1r_20x64_pr.add(gdstk.Label('br_14', (50.555,1.805), layer=68, texttype=5))
c_routeb_new_1w1r_20x64_pr.add(gdstk.Label('bl_15', (53.675,1.805), layer=68, texttype=5))
c_routeb_new_1w1r_20x64_pr.add(gdstk.Label('br_15', (55.995,1.805), layer=68, texttype=5))
c_routeb_new_1w1r_20x64_pr.add(gdstk.Label('bl_16', (59.115,1.805), layer=68, texttype=5))
c_routeb_new_1w1r_20x64_pr.add(gdstk.Label('br_16', (56.795,1.805), layer=68, texttype=5))
c_routeb_new_1w1r_20x64_pr.add(gdstk.Label('bl_17', (59.915,1.805), layer=68, texttype=5))
c_routeb_new_1w1r_20x64_pr.add(gdstk.Label('br_17', (62.235,1.805), layer=68, texttype=5))
c_routeb_new_1w1r_20x64_pr.add(gdstk.Label('bl_18', (65.355,1.805), layer=68, texttype=5))
c_routeb_new_1w1r_20x64_pr.add(gdstk.Label('br_18', (63.035,1.805), layer=68, texttype=5))
c_routeb_new_1w1r_20x64_pr.add(gdstk.Label('bl_19', (66.155,1.805), layer=68, texttype=5))
c_routeb_new_1w1r_20x64_pr.add(gdstk.Label('br_19', (68.475,1.805), layer=68, texttype=5))
c_routeb_new_1w1r_20x64_pr.add(gdstk.Label('bl_20', (71.595,1.805), layer=68, texttype=5))
c_routeb_new_1w1r_20x64_pr.add(gdstk.Label('br_20', (69.275,1.805), layer=68, texttype=5))
c_routeb_new_1w1r_20x64_pr.add(gdstk.Label('vdd', (36.162,3.14), layer=70, texttype=5))

lib.write_gds('routeb_new_1w1r_20x64_precharge_array.gds')
